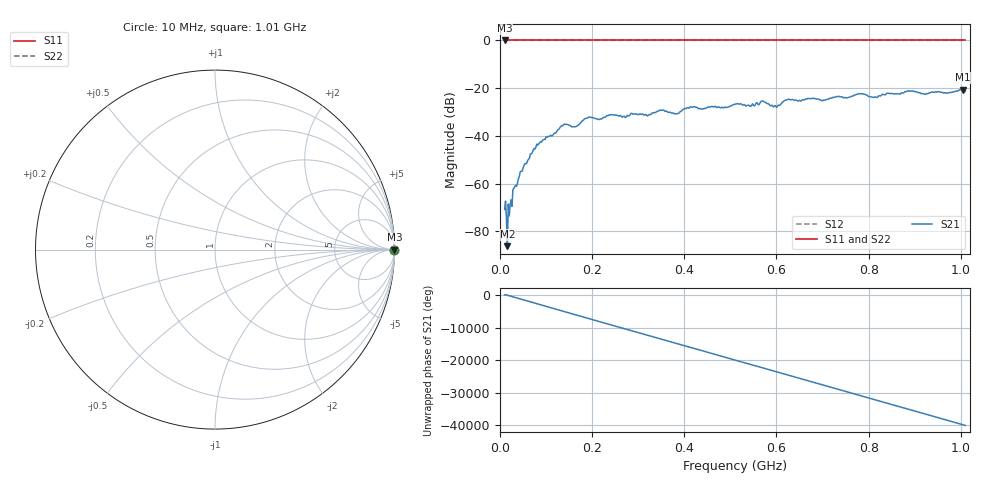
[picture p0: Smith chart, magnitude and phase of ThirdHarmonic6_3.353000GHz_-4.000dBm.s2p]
! 8/17/2025 10:35:16 AM
! C:\ANRITSUVNA\TEMP\TEMP.S2P
! CHANNEL.1
! TR.MEASUREMENT
! RAW.DATA
! RF.CORRECTION.OFF
! AVERAGING.OFF
! IF.BANDWIDTH: 5KHZ
! SWEEPTYPE:  FREQ.SWEEP(Linear)
! Reference Plane Port Info
! PORT:  PORT1  PORT2
! DISTANCE:  0  m  0  m
! TIME:  0  s  0  s
! PHASE.OFFSET:  0  deg.  0  deg.
! LOSS:  0  dB  0  dB
! REF.LOSS:  0  dB  0  dB
! REF.FREQ:  0  Hz  0  Hz
! Power Info
! POWER:  -20  dBm  -20  dBm
! EFF.POWER:  -20  dBm  -20  dBm
! SOURCE.ATTEN:  0  dB  0  dB
! TEST.ATTEN:  0  dB  0  dB
# GHZ S RI R 50.0
! FREQ.GHZ  S11RE  S11IM  S21RE  S21IM  S12RE  S12IM  S22RE  S22IM
!; PortSelection: Port_12
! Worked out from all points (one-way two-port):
!   501 points, 10 MHz to 1.01 GHz, reference 50 ohm
!   highest |S21| = -20.56 dB at 1.004 GHz (marker M1); lowest = -86.2 dB at 16 MHz (marker M2)
!   lowest |S11| = 0.0 dB at 10 MHz (marker M3)
!   |S11| at or under -10 dB: nowhere
!   |S22| runs from 0.0 to 0.0 dB; largest |S21 - S12| = 1.1
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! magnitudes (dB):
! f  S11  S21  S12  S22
! 10 MHz  0.0  -70.9  0.0  0.0
! 16 MHz  0.0  -86.2  0.0  0.0
! 18 MHz  0.0  -68.6  0.0  0.0
! 32 MHz  0.0  -61.3  0.0  0.0
! 44 MHz  0.0  -55.0  0.0  0.0
! 76 MHz  0.0  -45.4  0.0  0.0
! 136 MHz  0.0  -35.8  0.0  0.0
! 164 MHz  0.0  -36.1  0.0  0.0
! 178 MHz  0.0  -33.8  0.0  0.0
! 344 MHz  0.0  -29.6  0.0  0.0
! 382 MHz  0.0  -30.7  0.0  0.0
! 418 MHz  0.0  -28.0  0.0  0.0
! 510 MHz  0.0  -26.7  0.0  0.0
! 570 MHz  0.0  -25.4  0.0  0.0
! 598 MHz  0.0  -27.4  0.0  0.0
! 624 MHz  0.0  -24.8  0.0  0.0
! 678 MHz  0.0  -24.3  0.0  0.0
! 782 MHz  0.0  -22.3  0.0  0.0
! 814 MHz  0.0  -23.6  0.0  0.0
! 844 MHz  0.0  -22.2  0.0  0.0
! 1.004 GHz  0.0  -20.6  0.0  0.0
! 1.01 GHz  0.0  -21.4  0.0  0.0
